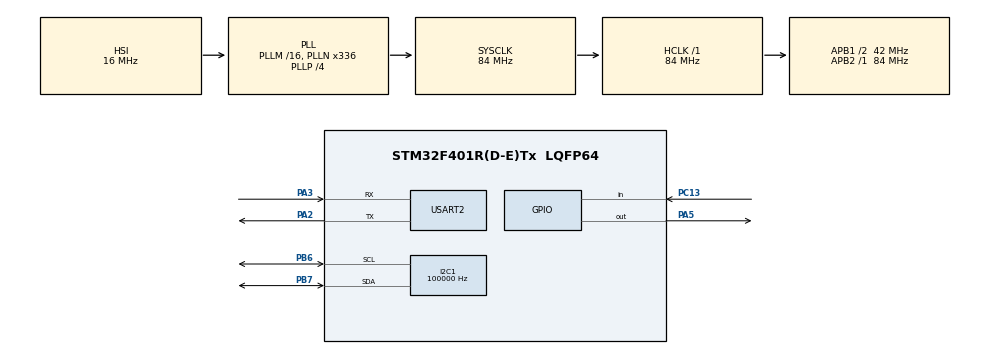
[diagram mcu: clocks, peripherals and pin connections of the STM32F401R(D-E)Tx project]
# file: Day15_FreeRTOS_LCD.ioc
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FREERTOS.Mutexes01=UART_Mutex,Dynamic,NULL
FREERTOS.Queues01=ButtonQueue,10,4,1,Dynamic,NULL,NULL
FREERTOS.Tasks01=defaultTask,24,128,StartDefaultTask,Default,NULL,Dynamic,NULL,NULL;LED_Task,8,128,StartTask02,Default,NULL,Dynamic,NULL,NULL;Button_Task,40,128,StartTask03,Default,NULL,Dynamic,NULL,NULL;LCD_Task,24,256,StartTask04,Default,NULL,Dynamic,NULL,NULL;Monitor_Task,25,256,StartTask05,Default,NULL,Dynamic,NULL,NULL
FREERTOS.Timers01=HeartbeatTimer,Callback01,osTimerPeriodic,Default,NULL,Dynamic,NULL
FREERTOS.configUSE_NEWLIB_REENTRANT=1
I2C1.ClockSpeed=100000
I2C1.I2C_Mode=I2C_Fast
Mcu.Family=STM32F4
Mcu.Name=STM32F401R(D-E)Tx
Mcu.Package=LQFP64
NVIC.PriorityGroup=NVIC_PRIORITYGROUP_4
PA2.Mode=Asynchronous
PA2.Signal=USART2_TX
PA3.Mode=Asynchronous
PA3.Signal=USART2_RX
PA5.Signal=GPIO_Output
PB6.Mode=I2C
PB6.Signal=I2C1_SCL
PB7.Mode=I2C
PB7.Signal=I2C1_SDA
PC13-ANTI_TAMP.Signal=GPIO_Input
ProjectManager.HeapSize=0x200
ProjectManager.StackSize=0x400
ProjectManager.TargetToolchain=STM32CubeIDE
RCC.48MHZClocksFreq_Value=48000000
RCC.AHBFreq_Value=84000000
RCC.APB1CLKDivider=RCC_HCLK_DIV2
RCC.APB1Freq_Value=42000000
RCC.APB1TimFreq_Value=84000000
RCC.APB2Freq_Value=84000000
RCC.APB2TimFreq_Value=84000000
RCC.CortexFreq_Value=84000000
RCC.HCLKFreq_Value=84000000
RCC.HSE_VALUE=8000000
RCC.HSI_VALUE=16000000
RCC.PLLN=336
RCC.PLLP=RCC_PLLP_DIV4
RCC.PLLQ=7
RCC.SYSCLKFreq_VALUE=84000000
RCC.SYSCLKSource=RCC_SYSCLKSOURCE_PLLCLK
RCC.VCOOutputFreq_Value=336000000
USART2.VirtualMode=VM_ASYNC
VP_FREERTOS_VS_CMSIS_V2.Mode=CMSIS_V2
board=NUCLEO-F401RE

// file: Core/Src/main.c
/* USER CODE BEGIN Header */
/**
  ******************************************************************************
  * @file           : main.c
  * @brief          : Main program body
  ******************************************************************************
  * @attention
  *
  * Copyright (c) 2026 STMicroelectronics.
  * All rights reserved.
  *
  * This software is licensed under terms that can be found in the LICENSE file
  * in the root directory of this software component.
  * If no LICENSE file comes with this software, it is provided AS-IS.
  *
  ******************************************************************************
  */
/* USER CODE END Header */
#include "main.h"
#include "cmsis_os.h"
#include "lcd.h"
#include <stdio.h>
#include <string.h>

I2C_HandleTypeDef hi2c1;

UART_HandleTypeDef huart2;

/* Definitions for defaultTask */
osThreadId_t defaultTaskHandle;
const osThreadAttr_t defaultTask_attributes = {
  .name = "defaultTask",
  .stack_size = 128 * 4,
  .priority = (osPriority_t) osPriorityNormal,
};
/* Definitions for LED_Task */
osThreadId_t LED_TaskHandle;
const osThreadAttr_t LED_Task_attributes = {
  .name = "LED_Task",
  .stack_size = 128 * 4,
  .priority = (osPriority_t) osPriorityLow,
};
/* Definitions for Button_Task */
osThreadId_t Button_TaskHandle;
const osThreadAttr_t Button_Task_attributes = {
  .name = "Button_Task",
  .stack_size = 128 * 4,
  .priority = (osPriority_t) osPriorityHigh,
};
/* Definitions for LCD_Task */
osThreadId_t LCD_TaskHandle;
const osThreadAttr_t LCD_Task_attributes = {
  .name = "LCD_Task",
  .stack_size = 256 * 4,
  .priority = (osPriority_t) osPriorityNormal,
};
/* Definitions for Monitor_Task */
osThreadId_t Monitor_TaskHandle;
const osThreadAttr_t Monitor_Task_attributes = {
  .name = "Monitor_Task",
  .stack_size = 256 * 4,
  .priority = (osPriority_t) osPriorityNormal1,
};
/* Definitions for ButtonQueue */
osMessageQueueId_t ButtonQueueHandle;
const osMessageQueueAttr_t ButtonQueue_attributes = {
  .name = "ButtonQueue"
};
/* Definitions for HeartbeatTimer */
osTimerId_t HeartbeatTimerHandle;
const osTimerAttr_t HeartbeatTimer_attributes = {
  .name = "HeartbeatTimer"
};
/* Definitions for UART_Mutex */
osMutexId_t UART_MutexHandle;
const osMutexAttr_t UART_Mutex_attributes = {
  .name = "UART_Mutex"
};
/* USER CODE BEGIN PV */

uint32_t button_count = 0;
uint32_t heartbeat_count = 0;
/* USER CODE END PV */

void SystemClock_Config(void);
static void MX_GPIO_Init(void);
static void MX_USART2_UART_Init(void);
static void MX_I2C1_Init(void);
void StartDefaultTask(void *argument);
void StartTask02(void *argument);
void StartTask03(void *argument);
void StartTask04(void *argument);
void StartTask05(void *argument);
void Callback01(void *argument);

int main(void)
{

  /* MCU Configuration--------------------------------------------------------*/

  /* Reset of all peripherals, Initializes the Flash interface and the Systick. */
  HAL_Init();

  /* Configure the system clock */
  SystemClock_Config();

  /* Initialize all configured peripherals */
  MX_GPIO_Init();
  MX_USART2_UART_Init();
  MX_I2C1_Init();
  /* USER CODE BEGIN 2 */
  LCD_Init(&hi2c1);
  /* USER CODE END 2 */

  /* Init scheduler */
  osKernelInitialize();
  /* Create the mutex(es) */
  /* creation of UART_Mutex */
  UART_MutexHandle = osMutexNew(&UART_Mutex_attributes);

  /* Create the timer(s) */
  /* creation of HeartbeatTimer */
  HeartbeatTimerHandle = osTimerNew(Callback01, osTimerPeriodic, NULL, &HeartbeatTimer_attributes);

  /* USER CODE BEGIN RTOS_TIMERS */
  osTimerStart(HeartbeatTimerHandle, 1000);
  /* start timers, add new ones, ... */
  /* USER CODE END RTOS_TIMERS */

  /* Create the queue(s) */
  /* creation of ButtonQueue */
  ButtonQueueHandle = osMessageQueueNew (10, 4, &ButtonQueue_attributes);

  /* Create the thread(s) */
  /* creation of defaultTask */
  defaultTaskHandle = osThreadNew(StartDefaultTask, NULL, &defaultTask_attributes);

  /* creation of LED_Task */
  LED_TaskHandle = osThreadNew(StartTask02, NULL, &LED_Task_attributes);

  /* creation of Button_Task */
  Button_TaskHandle = osThreadNew(StartTask03, NULL, &Button_Task_attributes);

  /* creation of LCD_Task */
  LCD_TaskHandle = osThreadNew(StartTask04, NULL, &LCD_Task_attributes);

  /* creation of Monitor_Task */
  Monitor_TaskHandle = osThreadNew(StartTask05, NULL, &Monitor_Task_attributes);

  /* Start scheduler */
  osKernelStart();

  /* We should never get here as control is now taken by the scheduler */
  /* Infinite loop */
  while (1)
  {

  }
}

void SystemClock_Config(void)
{
  RCC_OscInitTypeDef RCC_OscInitStruct = {0};
  RCC_ClkInitTypeDef RCC_ClkInitStruct = {0};

  /** Configure the main internal regulator output voltage
  */
  __HAL_RCC_PWR_CLK_ENABLE();
  __HAL_PWR_VOLTAGESCALING_CONFIG(PWR_REGULATOR_VOLTAGE_SCALE2);

  /** Initializes the RCC Oscillators according to the specified parameters
  * in the RCC_OscInitTypeDef structure.
  */
  RCC_OscInitStruct.OscillatorType = RCC_OSCILLATORTYPE_HSI;
  RCC_OscInitStruct.HSIState = RCC_HSI_ON;
  RCC_OscInitStruct.HSICalibrationValue = RCC_HSICALIBRATION_DEFAULT;
  RCC_OscInitStruct.PLL.PLLState = RCC_PLL_ON;
  RCC_OscInitStruct.PLL.PLLSource = RCC_PLLSOURCE_HSI;
  RCC_OscInitStruct.PLL.PLLM = 16;
  RCC_OscInitStruct.PLL.PLLN = 336;
  RCC_OscInitStruct.PLL.PLLP = RCC_PLLP_DIV4;
  RCC_OscInitStruct.PLL.PLLQ = 7;
  if (HAL_RCC_OscConfig(&RCC_OscInitStruct) != HAL_OK)
  {
    Error_Handler();
  }

  /** Initializes the CPU, AHB and APB buses clocks
  */
  RCC_ClkInitStruct.ClockType = RCC_CLOCKTYPE_HCLK|RCC_CLOCKTYPE_SYSCLK
                              |RCC_CLOCKTYPE_PCLK1|RCC_CLOCKTYPE_PCLK2;
  RCC_ClkInitStruct.SYSCLKSource = RCC_SYSCLKSOURCE_PLLCLK;
  RCC_ClkInitStruct.AHBCLKDivider = RCC_SYSCLK_DIV1;
  RCC_ClkInitStruct.APB1CLKDivider = RCC_HCLK_DIV2;
  RCC_ClkInitStruct.APB2CLKDivider = RCC_HCLK_DIV1;

  if (HAL_RCC_ClockConfig(&RCC_ClkInitStruct, FLASH_LATENCY_2) != HAL_OK)
  {
    Error_Handler();
  }
}

static void MX_I2C1_Init(void)
{

  hi2c1.Instance = I2C1;
  hi2c1.Init.ClockSpeed = 100000;
  hi2c1.Init.DutyCycle = I2C_DUTYCYCLE_2;
  hi2c1.Init.OwnAddress1 = 0;
  hi2c1.Init.AddressingMode = I2C_ADDRESSINGMODE_7BIT;
  hi2c1.Init.DualAddressMode = I2C_DUALADDRESS_DISABLE;
  hi2c1.Init.OwnAddress2 = 0;
  hi2c1.Init.GeneralCallMode = I2C_GENERALCALL_DISABLE;
  hi2c1.Init.NoStretchMode = I2C_NOSTRETCH_DISABLE;
  if (HAL_I2C_Init(&hi2c1) != HAL_OK)
  {
    Error_Handler();
  }

}

static void MX_USART2_UART_Init(void)
{

  huart2.Instance = USART2;
  huart2.Init.BaudRate = 115200;
  huart2.Init.WordLength = UART_WORDLENGTH_8B;
  huart2.Init.StopBits = UART_STOPBITS_1;
  huart2.Init.Parity = UART_PARITY_NONE;
  huart2.Init.Mode = UART_MODE_TX_RX;
  huart2.Init.HwFlowCtl = UART_HWCONTROL_NONE;
  huart2.Init.OverSampling = UART_OVERSAMPLING_16;
  if (HAL_UART_Init(&huart2) != HAL_OK)
  {
    Error_Handler();
  }

}

static void MX_GPIO_Init(void)
{
  GPIO_InitTypeDef GPIO_InitStruct = {0};

  /* GPIO Ports Clock Enable */
  __HAL_RCC_GPIOC_CLK_ENABLE();
  __HAL_RCC_GPIOA_CLK_ENABLE();
  __HAL_RCC_GPIOB_CLK_ENABLE();

  /*Configure GPIO pin Output Level */
  HAL_GPIO_WritePin(GPIOA, GPIO_PIN_5, GPIO_PIN_RESET);

  /*Configure GPIO pin : PC13 */
  GPIO_InitStruct.Pin = GPIO_PIN_13;
  GPIO_InitStruct.Mode = GPIO_MODE_INPUT;
  GPIO_InitStruct.Pull = GPIO_NOPULL;
  HAL_GPIO_Init(GPIOC, &GPIO_InitStruct);

  /*Configure GPIO pin : PA5 */
  GPIO_InitStruct.Pin = GPIO_PIN_5;
  GPIO_InitStruct.Mode = GPIO_MODE_OUTPUT_PP;
  GPIO_InitStruct.Pull = GPIO_NOPULL;
  GPIO_InitStruct.Speed = GPIO_SPEED_FREQ_LOW;
  HAL_GPIO_Init(GPIOA, &GPIO_InitStruct);

}

void StartDefaultTask(void *argument)
{
  for(;;)
  {
    osDelay(1);
  }
}

void StartTask02(void *argument)
{
  /* USER CODE BEGIN StartTask02 */
  /* Infinite loop */
	  for(;;)
	    {
	        HAL_GPIO_TogglePin(GPIOA, GPIO_PIN_5);

	        osDelay(500);
	    }
  /* USER CODE END StartTask02 */
}

  /* Infinite loop */
void StartTask03(void *argument)
{
  uint32_t event = 1;

  for(;;)
  {
    if(HAL_GPIO_ReadPin(GPIOC, GPIO_PIN_13) == GPIO_PIN_RESET)
    {
      osDelay(30);

      if(HAL_GPIO_ReadPin(GPIOC, GPIO_PIN_13) == GPIO_PIN_RESET)
      {
        button_count++;

        /* Send event to queue */
        osMessageQueuePut(ButtonQueueHandle,
                          &event,
                          0,
                          0);

        if(osMutexAcquire(UART_MutexHandle, 100) == osOK)
        {
          char msg[60];

          snprintf(msg, sizeof(msg),
                   "BUTTON COUNT = %lu\r\n",
                   (unsigned long)button_count);

          HAL_UART_Transmit(&huart2,
                            (uint8_t *)msg,
                            strlen(msg),
                            100);

          osMutexRelease(UART_MutexHandle);
        }

        /* Wait for button release */
        while(HAL_GPIO_ReadPin(GPIOC, GPIO_PIN_13) == GPIO_PIN_RESET)
        {
          osDelay(20);
        }

        osDelay(100);
      }
    }

    osDelay(20);
  }
}

void StartTask04(void *argument)
{
  char line[17];
  uint32_t displayed_count = 0;

  LCD_Clear();

  LCD_SetCursor(0, 0);
  LCD_SendString("FreeRTOS SYSTEM");

  LCD_SetCursor(1, 0);
  LCD_SendString("STATUS: RUNNING");

  osDelay(2000);

  for(;;)
  {
    if(button_count != displayed_count)
    {
      displayed_count = button_count;

      LCD_Clear();

      LCD_SetCursor(0, 0);
      LCD_SendString("BUTTON EVENT");

      LCD_SetCursor(1, 0);

      snprintf(line, sizeof(line),
               "Count: %lu",
               (unsigned long)displayed_count);

      LCD_SendString(line);
    }

    osDelay(100);
  }
}

void StartTask05(void *argument)
{
  /* USER CODE BEGIN StartTask05 */
  /* Infinite loop */
	  char msg[100];

	    for(;;)
	    {
	        if(osMutexAcquire(UART_MutexHandle, 100) == osOK)
	        {
	            sprintf(msg,
	                    "\r\n--- FreeRTOS SYSTEM MONITOR ---\r\n"
	                    "System Status : RUNNING\r\n"
	                    "Button Events : %lu\r\n"
	                    "Heartbeat     : %lu\r\n"
	                    "-------------------------------\r\n",
	                    button_count,
	                    heartbeat_count);

	            HAL_UART_Transmit(&huart2,
	                              (uint8_t *)msg,
	                              strlen(msg),
	                              HAL_MAX_DELAY);

	            osMutexRelease(UART_MutexHandle);
	        }

	        osDelay(1000);
	    }
  /* USER CODE END StartTask05 */
}

/* Callback01 function */
void Callback01(void *argument)
{
  /* USER CODE BEGIN Callback01 */
    heartbeat_count++;
  /* USER CODE END Callback01 */
}

void Error_Handler(void)
{
  __disable_irq();
  while (1)
  {
  }
}
